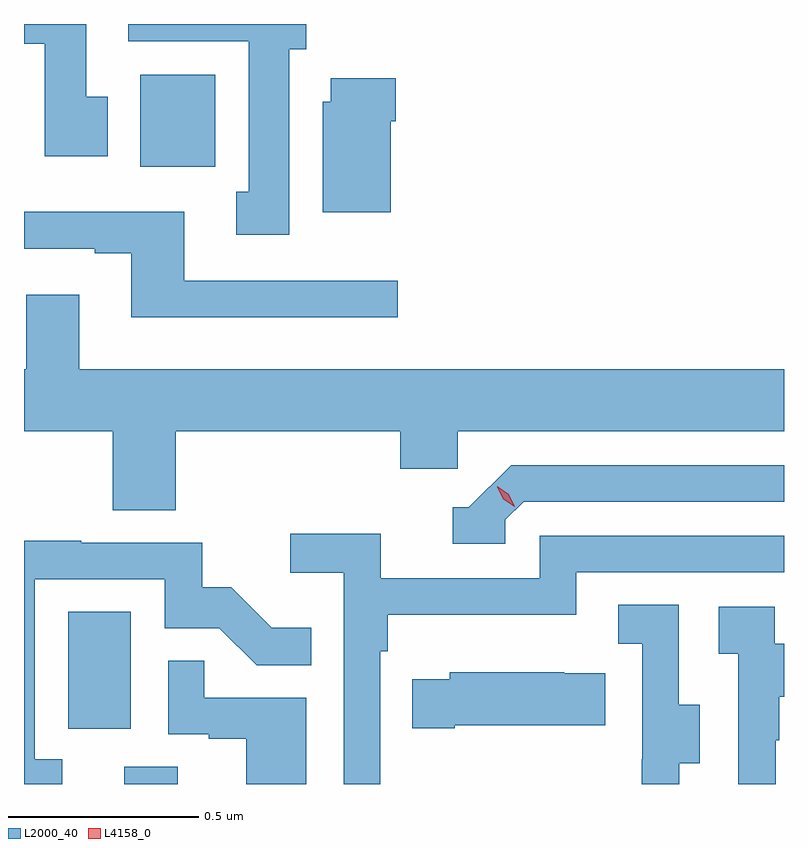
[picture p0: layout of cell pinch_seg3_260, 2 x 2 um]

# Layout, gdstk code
import gdstk
lib = gdstk.Library(unit=1e-6, precision=1e-09)
def R(c, l, rs):  # rectangles x0, y0, x1, y1
    for r in rs: c.add(gdstk.rectangle(r[:2], r[2:], *l))
def P(c, l, *ps):  # polygons
    for p in ps: c.add(gdstk.Polygon(p, *l))
L2000_40 = (2000, 40)
L4158_0 = (4158, 0)

pinch_seg3_260 = lib.new_cell('pinch_seg3_260')
R(pinch_seg3_260, L2000_40, [(921.377,723.964,921.517,724.01), (921.23,724.11,921.394,724.417), (921.419,725.588,921.616,725.83)])
P(pinch_seg3_260, L2000_40, [(921.811,725.898),(921.856,725.898),(921.856,725.964),(921.387,725.964),(921.387,725.918),(921.704,725.918),(921.704,725.522),(921.671,725.522),(921.671,725.409),(921.811,725.409)],
  [(921.334,725.772),(921.277,725.772),(921.277,725.964),(921.113,725.964),(921.113,725.912),(921.167,725.912),(921.167,725.616),(921.334,725.616)],
  [(922.078,725.708),(922.091,725.708),(922.091,725.821),(921.92,725.821),(921.92,725.76),(921.899,725.76),(921.899,725.468),(922.078,725.468)],
  [(922.096,725.289),(921.535,725.289),(921.535,725.47),(921.113,725.47),(921.113,725.373),(921.299,725.373),(921.299,725.361),(921.395,725.361),(921.395,725.192),(922.096,725.192)],
  [(921.512,724.892),(922.103,724.892),(922.103,724.794),(922.254,724.794),(922.254,724.892),(923.113,724.892),(923.113,725.056),(921.259,725.056),(921.259,725.251),(921.119,725.251),(921.119,725.056),(921.113,725.056),(921.113,724.892),(921.347,724.892),(921.347,724.684),(921.512,724.684)],
  [(922.38,724.659),(922.428,724.707),(923.113,724.707),(923.113,724.803),(922.395,724.803),(922.284,724.692),(922.241,724.692),(922.241,724.596),(922.38,724.596)],
  [(922.05,724.313),(922.07,724.313),(922.07,724.409),(922.566,724.409),(922.566,724.521),(923.113,724.521),(923.113,724.617),(922.47,724.617),(922.47,724.506),(922.052,724.506),(922.052,724.622),(921.813,724.622),(921.813,724.52),(921.954,724.52),(921.954,723.964),(922.05,723.964)],
  [(921.214,724.029),(921.141,724.029),(921.141,724.503),(921.483,724.503),(921.483,724.374),(921.627,724.374),(921.725,724.276),(921.869,724.276),(921.869,724.375),(921.765,724.375),(921.658,724.482),(921.582,724.482),(921.582,724.599),(921.263,724.599),(921.263,724.604),(921.113,724.604),(921.113,723.964),(921.214,723.964)],
  [(922.837,724.018),(922.891,724.018),(922.891,724.173),(922.836,724.173),(922.836,724.436),(922.677,724.436),(922.677,724.333),(922.74,724.333),(922.74,724.029),(922.739,724.029),(922.739,723.964),(922.837,723.964)],
  [(923.091,724.079),(923.101,724.079),(923.101,724.193),(923.113,724.193),(923.113,724.333),(923.088,724.333),(923.088,724.431),(922.941,724.431),(922.941,724.307),(922.992,724.307),(922.992,723.964),(923.091,723.964)],
  [(921.856,724.191),(921.587,724.191),(921.587,724.289),(921.492,724.289),(921.492,724.095),(921.599,724.095),(921.599,724.083),(921.698,724.083),(921.698,723.964),(921.856,723.964)],
  [(922.246,724.118),(922.643,724.118),(922.643,724.255),(922.535,724.255),(922.535,724.258),(922.233,724.258),(922.233,724.24),(922.135,724.24),(922.135,724.111),(922.246,724.111)])
P(pinch_seg3_260, L4158_0, [(922.405,724.694),(922.374,724.714),(922.359,724.746),(922.359,724.747),(922.359,724.747),(922.389,724.727),(922.405,724.694),(922.405,724.694)])

lib.write_gds('pinch_seg3_260.gds')
